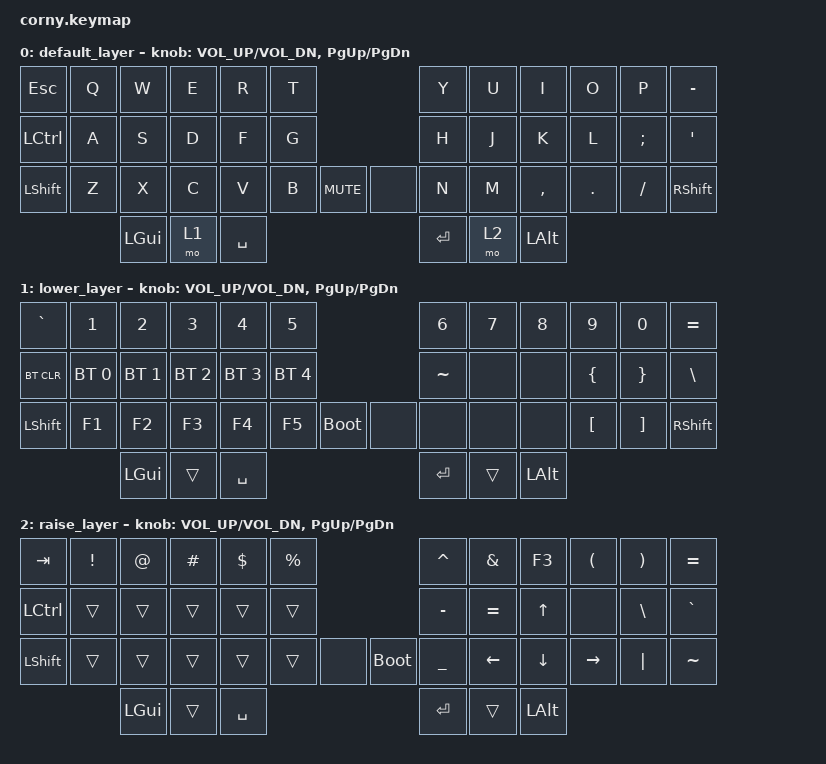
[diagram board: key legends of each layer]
#include <behaviors.dtsi>
#include <dt-bindings/zmk/keys.h>
#include <dt-bindings/zmk/bt.h>

/ {
    keymap {
        compatible = "zmk,keymap";

        default_layer {
// -------------------------------------------------------------------------------------------
// |  ESC |  Q  |  W  |  E  |  R  |  T  |              |  Y  |  U   |  I  |  O  |  P  |  -   |
// | CTRL |  A  |  S  |  D  |  F  |  G  |              |  H  |  J   |  K  |  L  |  ;  |  '   |
// | SHFT |  Z  |  X  |  C  |  V  |  B  |  MUTE  |   | |  N  |  M   |  ,  |  .  |  /  | SHFT |
//                    | GUI | LWR | SPC |              | ENT | RSE  | ALT |
            bindings = <
   &kp ESC   &kp Q &kp W &kp E &kp R &kp T                   &kp Y &kp U  &kp I     &kp O   &kp P    &kp MINUS
   &kp LCTRL &kp A &kp S &kp D &kp F &kp G                   &kp H &kp J  &kp K     &kp L   &kp SEMI &kp SQT
   &kp LSHFT &kp Z &kp X &kp C &kp V &kp B &kp C_MUTE  &none &kp N &kp M  &kp COMMA &kp DOT &kp FSLH &kp RSHFT
                    &kp LGUI &mo 1 &kp SPC                   &kp RET &mo 2 &kp LALT
            >;
            sensor-bindings = <&inc_dec_kp C_VOL_UP C_VOL_DN &inc_dec_kp PG_UP PG_DN>;
        };
        
        lower_layer {
// ------------------------------------------------------------------------------------------
// |  `   |  1  |  2  |  3  |  4  |  5  |              |  6  |  7  |  8  |  9  |  0  |  =   |
// | BTCLR| BT1 | BT2 | BT3 | BT4 | BT5 |              |  ~  |     |     |  {  |  }  |  \   |
// | SHFT | F1  | F2  | F3  | F4  | F5  |  boot  |   | |     |     |     |  [  |  ]  | SHFT |
//                    | GUI |     | SPC |              | ENT |     | ALT |
            bindings = <
   &kp GRAVE  &kp N1       &kp N2       &kp N3       &kp N4       &kp N5                           &kp N6   &kp N7   &kp N8 &kp N9    &kp N0  &kp EQUAL
   &bt BT_CLR &bt BT_SEL 0 &bt BT_SEL 1 &bt BT_SEL 2 &bt BT_SEL 3 &bt BT_SEL 4                     &kp TILDE &none   &none  &kp LBRC &kp RBRC &kp BSLH
   &kp LSHFT  &kp F1       &kp F2       &kp F3       &kp F4       &kp F5       &bootloader  &none  &none     &none   &none  &kp LBKT &kp RBKT &kp RSHFT
          &kp LGUI &trans &kp SPC                                                                  &kp RET &trans &kp LALT
            >;
            sensor-bindings = <&inc_dec_kp C_VOL_UP C_VOL_DN &inc_dec_kp PG_UP PG_DN>;
        };

        raise_layer {
// ------------------------------------------------------------------------------------------
// |  TAB |  !  |  @  |  #  |  $  |  %  |              |  ^  |  &  | F3  |  (  |  )  |  =   |
// | CTRL |     |     |     |     |     |              |  -  |  =  | UP  |     |  \  |  `   |
// | SHFT |     |     |     |     |     |    |  boot | |  _  | LFT | DWN | RGT | "|" |  ~   |
//                    | GUI |     | SPC |              | ENT |     | ALT |
            bindings = <
   &kp TAB  &kp EXCL &kp AT &kp HASH &kp DLLR &kp PRCNT                    &kp CARET &kp AMPS  &kp F3   &kp LPAR  &kp RPAR &kp EQUAL
   &kp LCTRL &trans  &trans &trans   &trans   &trans                       &kp MINUS &kp EQUAL &kp UP   &none     &kp BSLH &kp GRAVE
   &kp LSHFT &trans  &trans &trans   &trans   &trans    &none  &bootloader &kp UNDER &kp LEFT  &kp DOWN &kp RIGHT &kp PIPE &kp TILDE
                     &kp LGUI        &trans   &kp SPC                      &kp RET   &trans    &kp LALT
            >;
            sensor-bindings = <&inc_dec_kp C_VOL_UP C_VOL_DN &inc_dec_kp PG_UP PG_DN>;
        };
    };
};
